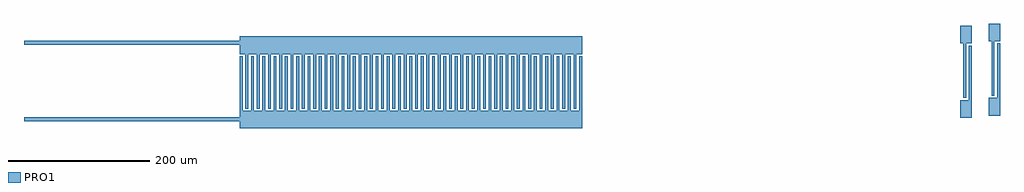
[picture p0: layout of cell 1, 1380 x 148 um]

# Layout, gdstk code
import gdstk
lib = gdstk.Library(unit=1e-6, precision=1e-09)
def R(c, l, rs):  # rectangles x0, y0, x1, y1
    for r in rs: c.add(gdstk.rectangle(r[:2], r[2:], *l))
def P(c, l, *ps):  # polygons
    for p in ps: c.add(gdstk.Polygon(p, *l))
PRO1 = (2, 0)

c_1 = lib.new_cell('1')
R(c_1, PRO1, [(0,250,305,256), (0,358,305,364)])
P(c_1, PRO1, [(1380,363),(1372,363),(1372,286),(1368,286),(1368,363),(1364,363),(1364,388),(1380,388)],
  [(1376,283),(1376,360),(1380,360),(1380,258),(1364,258),(1364,283)],
  [(305,240),(305,342),(309,342),(309,265),(321,265),(321,342),(325,342),(325,265),(337,265),(337,342),(341,342),(341,265),(353,265),(353,342),(357,342),(357,265),(369,265),(369,342),(373,342),(373,265),(385,265),(385,342),(389,342),(389,265),(401,265),(401,342),(405,342),(405,265),(417,265),(417,342),(421,342),(421,265),(433,265),(433,342),(437,342),(437,265),(449,265),(449,342),(453,342),(453,265),(465,265),(465,342),(469,342),(469,265),(481,265),(481,342),(485,342),(485,265),(497,265),(497,342),(501,342),(501,265),(513,265),(513,342),(517,342),(517,265),(529,265),(529,342),(533,342),(533,265),(545,265),(545,342),(549,342),(549,265),(561,265),(561,342),(565,342),(565,265),(577,265),(577,342),(581,342),(581,265),(593,265),(593,342),(597,342),(597,265),(609,265),(609,342),(613,342),(613,265),(625,265),(625,342),(629,342),(629,265),(641,265),(641,342),(645,342),(645,265),(657,265),(657,342),(661,342),(661,265),(673,265),(673,342),(677,342),(677,265),(689,265),(689,342),(693,342),(693,265),(705,265),(705,342),(709,342),(709,265),(721,265),(721,342),(725,342),(725,265),(737,265),(737,342),(741,342),(741,265),(753,265),(753,342),(757,342),(757,265),(769,265),(769,342),(773,342),(773,265),(785,265),(785,342),(789,342),(789,265),(789,240)],
  [(781,345),(781,268),(777,268),(777,345),(765,345),(765,268),(761,268),(761,345),(749,345),(749,268),(745,268),(745,345),(733,345),(733,268),(729,268),(729,345),(717,345),(717,268),(713,268),(713,345),(701,345),(701,268),(697,268),(697,345),(685,345),(685,268),(681,268),(681,345),(669,345),(669,268),(665,268),(665,345),(653,345),(653,268),(649,268),(649,345),(637,345),(637,268),(633,268),(633,345),(621,345),(621,268),(617,268),(617,345),(605,345),(605,268),(601,268),(601,345),(589,345),(589,268),(585,268),(585,345),(573,345),(573,268),(569,268),(569,345),(557,345),(557,268),(553,268),(553,345),(541,345),(541,268),(537,268),(537,345),(525,345),(525,268),(521,268),(521,345),(509,345),(509,268),(505,268),(505,345),(493,345),(493,268),(489,268),(489,345),(477,345),(477,268),(473,268),(473,345),(461,345),(461,268),(457,268),(457,345),(445,345),(445,268),(441,268),(441,345),(429,345),(429,268),(425,268),(425,345),(413,345),(413,268),(409,268),(409,345),(397,345),(397,268),(393,268),(393,345),(381,345),(381,268),(377,268),(377,345),(365,345),(365,268),(361,268),(361,345),(349,345),(349,268),(345,268),(345,345),(333,345),(333,268),(329,268),(329,345),(317,345),(317,268),(313,268),(313,345),(305,345),(305,370),(789,370),(789,345)],
  [(1332,360),(1332,283),(1328,283),(1328,360),(1324,360),(1324,385),(1340,385),(1340,360)],
  [(1336,280),(1336,357),(1340,357),(1340,280),(1340,255),(1324,255),(1324,280)])

lib.write_gds('1.gds')
